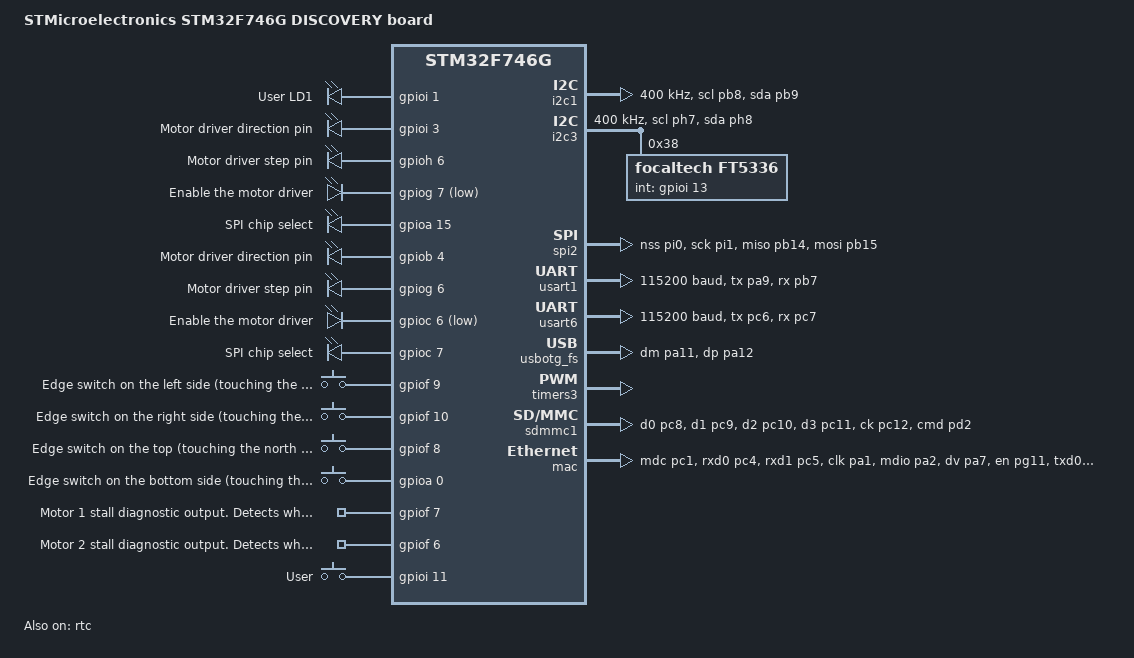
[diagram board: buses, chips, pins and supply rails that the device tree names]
/*
 * Copyright (c) 2018 Yurii Hamann
 *
 * SPDX-License-Identifier: Apache-2.0
 */

/dts-v1/;
#include <st/f7/stm32f746Xg.dtsi>
#include <st/f7/stm32f746nghx-pinctrl.dtsi>
#include "arduino_r3_connector.dtsi"

/ {
	model = "STMicroelectronics STM32F746G DISCOVERY board";
	compatible = "st,stm32f746g-disco";

	chosen {
		zephyr,console = &usart1;
		zephyr,shell-uart = &usart1;
		zephyr,sram = &sram0;
		zephyr,flash = &flash0;
		zephyr,dtcm = &dtcm;
	};

	leds {
		compatible = "gpio-leds";

		green_led_1: led_1 {
			gpios = <&gpioi 1 GPIO_ACTIVE_HIGH>;
			label = "User LD1";
		};
	};

	motor1_pins {
		compatible = "gpio-leds";

		dir {
			gpios = <&gpioi 3 GPIO_ACTIVE_HIGH>;
			label = "Motor driver direction pin";
		};

		step {
			gpios = <&gpioh 6 GPIO_ACTIVE_HIGH>;
			label = "Motor driver step pin";
		};

		enable {
			gpios = <&gpiog 7 GPIO_ACTIVE_LOW>;
			label = "Enable the motor driver";
		};

		nss {
			gpios = <&gpioa 15 GPIO_ACTIVE_HIGH>;
			label = "SPI chip select";
		};
	};

	motor2_pins {
		compatible = "gpio-leds";

		dir {
			gpios = <&gpiob 4 GPIO_ACTIVE_HIGH>;
			label = "Motor driver direction pin";
		};

		step {
			gpios = <&gpiog 6 GPIO_ACTIVE_HIGH>;
			label = "Motor driver step pin";
		};

		enable {
			gpios = <&gpioc 6 GPIO_ACTIVE_LOW>;
			label = "Enable the motor driver";
		};

		nss {
			gpios = <&gpioc 7 GPIO_ACTIVE_HIGH>;
			label = "SPI chip select";
		};
	};

	edge_switch_pins {
		compatible = "gpio-keys";

		left {// Something wrong with this one
			gpios = <&gpiof 9 (GPIO_ACTIVE_HIGH | GPIO_PULL_DOWN)>;
			label = "Edge switch on the left side (touching the west attachment)";
		};

		right {
			gpios = <&gpiof 10 (GPIO_ACTIVE_HIGH | GPIO_PULL_DOWN)>;
			label = "Edge switch on the right side (touching the east attachment)";
		};

		top { 
			gpios = <&gpiof 8 (GPIO_ACTIVE_HIGH | GPIO_PULL_DOWN)>;
			label = "Edge switch on the top (touching the north attachment)";
		};

		bottom { 
			gpios = <&gpioa 0 (GPIO_ACTIVE_HIGH | GPIO_PULL_DOWN)>;
			label = "Edge switch on the bottom side (touching the pen holder)";
		};

		motor1_stall {
			gpios = <&gpiof 7 (GPIO_ACTIVE_HIGH | GPIO_PULL_DOWN)>;
			label = "Motor 1 stall diagnostic output. Detects when the motor stalls.";
		};

		motor2_stall {
			gpios = <&gpiof 6 (GPIO_ACTIVE_HIGH | GPIO_PULL_DOWN)>;
			label = "Motor 2 stall diagnostic output. Detects when the motor stalls.";
		};
	};

	gpio_keys {
		compatible = "gpio-keys";
		user_button: button {
			label = "User";
			gpios = <&gpioi 11 GPIO_ACTIVE_HIGH>;
		};
	};

	aliases {
		led0 = &green_led_1;
		sw0 = &user_button;
		kscan0 = &touch_controller;
		grbluart = &usart3;
	};
};

&i2c1 {
	pinctrl-0 = <&i2c1_scl_pb8 &i2c1_sda_pb9>;
	status = "okay";
	clock-frequency = <I2C_BITRATE_FAST>;
};

&i2c3 {
	pinctrl-0 = <&i2c3_scl_ph7 &i2c3_sda_ph8>;
	status = "okay";
	clock-frequency = <I2C_BITRATE_FAST>;

	touch_controller: ft5336@38 {
		compatible = "focaltech,ft5336";
		reg = <0x38>;
		label = "FT5336";
		int-gpios = <&gpioi 13 0>;
	};
};

&spi2 {
	pinctrl-0 = <&spi2_nss_pi0 &spi2_sck_pi1
		     &spi2_miso_pb14 &spi2_mosi_pb15>;
	status = "okay";
};

&usart1 {
	pinctrl-0 = <&usart1_tx_pa9 &usart1_rx_pb7>;
	current-speed = <115200>;
	status = "okay";
};

&usart6 {
	pinctrl-0 = <&usart6_tx_pc6 &usart6_rx_pc7>;
	current-speed = <115200>;
	status = "okay";
};

&usbotg_fs {
	pinctrl-0 = <&usb_otg_fs_dm_pa11 &usb_otg_fs_dp_pa12>;
	status = "okay";
};

&timers3 {
	status = "okay";

	pwm3: pwm {
		status = "okay";
		pinctrl-0 = <&tim3_ch1_pb4>;
	};
};

&rtc {
	status = "okay";
};

&sdmmc1 {
	status = "okay";
	pinctrl-0 = <&sdmmc1_d0_pc8 &sdmmc1_d1_pc9
		     &sdmmc1_d2_pc10 &sdmmc1_d3_pc11
		     &sdmmc1_ck_pc12 &sdmmc1_cmd_pd2>;
	cd-gpios = <&gpioc 13 GPIO_ACTIVE_LOW>;
};

&mac {
	status = "okay";
	pinctrl-0 = <&eth_mdc_pc1
		     &eth_rxd0_pc4
		     &eth_rxd1_pc5
		     &eth_ref_clk_pa1
		     &eth_mdio_pa2
		     &eth_crs_dv_pa7
		     &eth_tx_en_pg11
		     &eth_txd0_pg13
		     &eth_txd1_pg14>;
};
